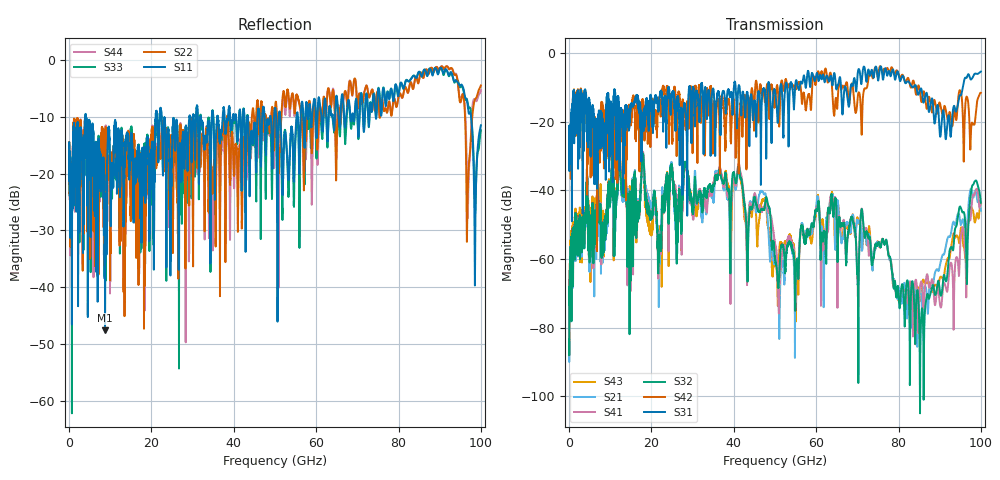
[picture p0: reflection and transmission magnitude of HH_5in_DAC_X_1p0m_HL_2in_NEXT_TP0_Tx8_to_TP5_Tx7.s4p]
# GHz S RI R 45
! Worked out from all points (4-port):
!   4000 points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, 25 MHz to 100 GHz, reference 45 ohm
!   strongest paths, dB at 25 MHz, 25.02 GHz, 50.02 GHz, 75.03 GHz, 100 GHz:
!     S31: -21.9, -11.6, -11.3, -7.9, -5.3
!     S42: -22.0, -22.6, -14.7, -7.0, -11.5
!     S32: -83.5, -33.5, -60.2, -55.4, -43.6
!     S41: -83.5, -33.4, -55.9, -55.1, -43.4
!     S21: -85.2, -33.4, -61.0, -55.2, -45.9
!     S43: -81.6, -33.3, -60.7, -55.1, -43.7
!   lowest |S11| = -47.5 dB at 8.75 GHz (marker M1), VSWR 1.01, Z = 45.2 + j0.329 ohm
!   |S11| at or under -10 dB: start of sweep to 4.02 GHz; 4.129 GHz to 21.05 GHz (16.92 GHz wide, 134 % of centre); 22.49 GHz to 29.27 GHz (6.781 GHz wide, 26.2 % of centre) (the widest 3 of 45)
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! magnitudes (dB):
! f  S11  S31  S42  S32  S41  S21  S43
! 25 MHz  -15.6  -21.9  -22.0  -83.5  -83.5  -85.2  -81.6
! 8.75 GHz  -47.5  -22.8  -18.6  -48.2  -48.4  -48.4  -48.3
! 41.3 GHz  -9.9  -9.4  -27.0  -33.1  -32.3  -33.0  -32.8
! 51.02 GHz  -9.4  -13.7  -21.4  -65.7  -70.3  -78.3  -57.7
! 63.77 GHz  -9.9  -7.8  -8.3  -41.3  -42.5  -41.8  -40.8
! 85.75 GHz  -2.9  -11.9  -13.5  -74.4  -67.8  -77.3  -67.8
! 100 GHz  -11.5  -5.3  -11.5  -43.6  -43.4  -45.9  -43.7
